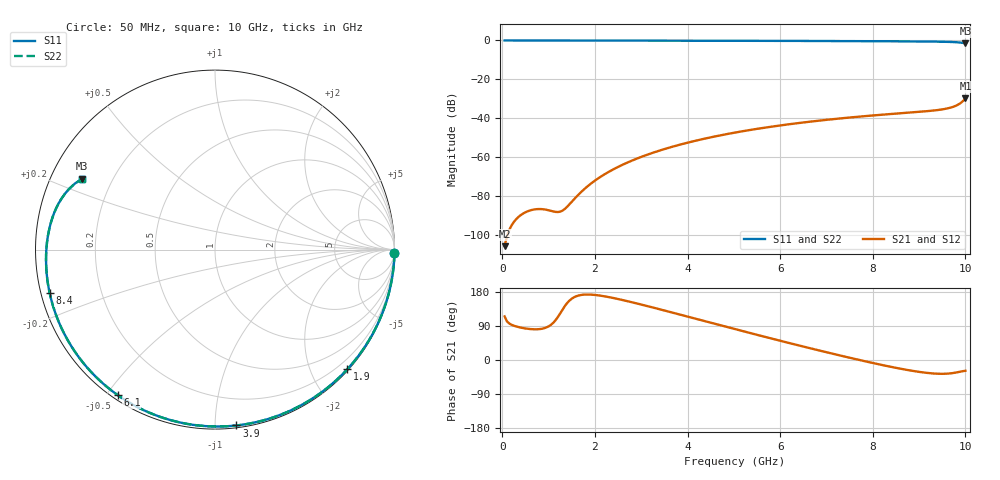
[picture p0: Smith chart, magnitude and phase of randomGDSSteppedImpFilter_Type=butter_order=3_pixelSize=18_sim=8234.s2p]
! freq	dB(S11)	phase(S11)	dB(S12)	phase(S12)
!  dB(S21)	phase(S21)	dB(S22)	phase(S22)
!S-par simulation data
#  GHz  S  DB  R 50
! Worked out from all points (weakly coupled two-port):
!   200 points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, 50 MHz to 10 GHz, reference 50 ohm
!   highest |S21| = -29.76 dB at 10 GHz (marker M1); lowest = -105.5 dB at 50 MHz (marker M2)
!   lowest |S11| = -1.5 dB at 10 GHz (marker M3), VSWR 11.52, Z = 4.61 + j12.4 ohm
!   |S11| at or under -10 dB: nowhere
!   |S22| runs from -1.5 to 0.0 dB; largest |S21 - S12| = 0
!   S11 on the Smith chart (normalised r, x): 50 MHz: open; 1.9 GHz: 0.02, -2.60; 3.9 GHz: 0.01, -1.13; 6.1 GHz: 0.02, -0.53; 8.4 GHz: 0.02, -0.13; 10 GHz: 0.09, +0.25
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0.05  -0.00 -1.1  -105.49 115.0  -105.49 115.0  -0.00 -1.1
0.8  -0.02 -18.0  -86.45 81.5  -86.45 81.5  -0.02 -18.0
1.6  -0.05 -35.6  -80.15 168.3  -80.15 168.3  -0.05 -35.6
1.75  -0.05 -38.9  -76.66 172.3  -76.66 172.3  -0.05 -38.9
1.9  -0.05 -42.1  -73.66 172.6  -73.66 172.6  -0.05 -42.1
2.2  -0.06 -48.5  -68.75 168.2  -68.75 168.2  -0.06 -48.5
2.55  -0.07 -55.9  -64.27 159.6  -64.27 159.6  -0.07 -55.9
2.95  -0.08 -64.1  -60.17 147.9  -60.17 147.9  -0.08 -64.1
3.4  -0.10 -73.2  -56.44 133.8  -56.44 133.8  -0.10 -73.2
3.9  -0.11 -83.1  -53.03 117.8  -53.03 117.8  -0.11 -83.0
4.45  -0.13 -93.6  -49.93 100.0  -49.93 100.0  -0.13 -93.6
5.05  -0.16 -104.8  -47.13 80.8  -47.13 80.8  -0.16 -104.8
6.1  -0.22 -123.9  -43.26 47.7  -43.26 47.7  -0.22 -123.8
6.7  -0.26 -134.5  -41.50 29.4  -41.50 29.4  -0.26 -134.5
7.55  -0.33 -149.7  -39.41 4.5  -39.41 4.5  -0.33 -149.7
8.35  -0.42 -164.4  -37.79 -17.0  -37.79 -17.0  -0.42 -164.4
8.4  -0.42 -165.4  -37.70 -18.3  -37.70 -18.3  -0.42 -165.4
9.1  -0.53 -179.4  -36.42 -33.0  -36.42 -33.0  -0.53 -179.4
9.6  -0.70 168.4  -34.92 -36.1  -34.92 -36.1  -0.71 168.4
9.85  -0.98 159.8  -32.81 -31.8  -32.81 -31.8  -0.99 159.7
9.95  -1.26 155.0  -31.05 -29.3  -31.05 -29.3  -1.28 154.8
10  -1.51 152.0  -29.76 -28.6  -29.76 -28.6  -1.54 151.8
